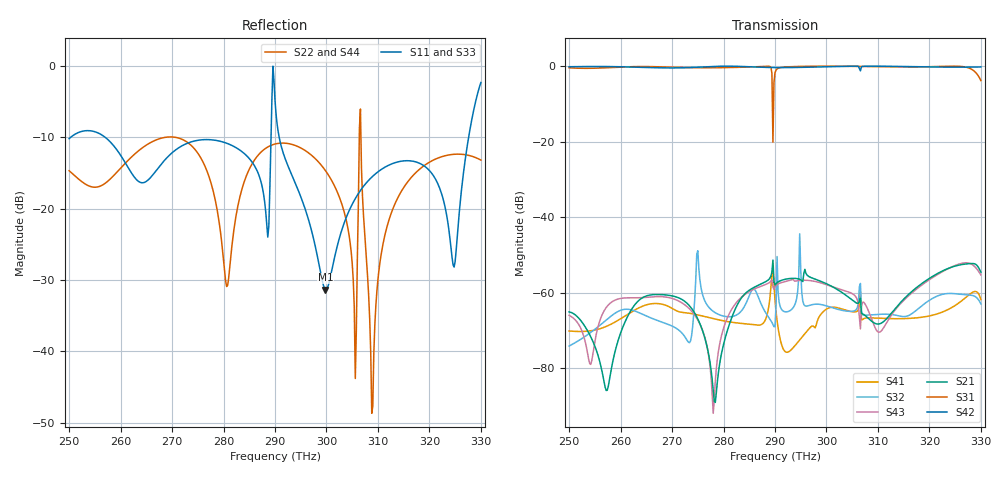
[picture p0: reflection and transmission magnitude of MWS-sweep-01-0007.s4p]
! TOUCHSTONE file generated by CST MICROWAVE STUDIO
! Date and time: Sun Sep 21 00:13:14 2025
! Project name: biblioteca3.cst
! Parameters = {t_sub=1000; t_air=1200; k=0; n=0; wavelength_nm=0; H=600; Lx=200; Ly=260; P=520}
! Header version: 2018
! Port assignment regex: !\s*Touchstone port\s*([0-9]+)\s*=\s*(CST MWS port|CST DS port)\s*([0-9]+|Zmin|Zmax)\s*\(\"(.*)\"\)(\s*mode\s*([0-9]+))?.*
! Touchstone port assignment:
! Touchstone port 1 = CST MWS port Zmin ("") mode 1
! Touchstone port 2 = CST MWS port Zmin ("") mode 2
! Touchstone port 3 = CST MWS port Zmax ("") mode 1
! Touchstone port 4 = CST MWS port Zmax ("") mode 2
! S-Parameters are not renormalized. Unphysical impedance of 50 will be written to the file.
# GHz S RI R 50
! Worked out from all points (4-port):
!   401 points, 250 THz to 330 THz, reference per port
!   strongest paths, dB at 250 THz, 270 THz, 290 THz, 310 THz, 330 THz:
!     S42: -0.2, -0.5, -0.4, 0.0, -0.2
!     S31: -0.4, -0.3, -1.7, -0.1, -3.8
!     S21: -65.0, -60.8, -57.9, -68.2, -54.5
!     S43: -65.9, -61.5, -58.4, -70.3, -55.2
!     S32: -74.1, -68.8, -68.9, -65.7, -62.9
!     S41: -70.1, -64.1, -61.9, -66.7, -61.8
!   lowest |S11| = -31.3 dB at 299.8 THz (marker M1), VSWR 1.06
!   |S11| at or under -10 dB: start of sweep to 250.3024 THz; 257 THz to 289.2 THz (32.24 THz wide, 11.8 % of centre); 290.8 THz to 327.6 THz (36.81 THz wide, 11.9 % of centre)
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250000  -0.3087 -0.0211  8.61e-05 -0.000608  -0.8931 -0.3266  0.000267 -4.69e-05
        4.72e-05 -0.000559  -0.0917 0.16  4.41e-05 -0.000155  0.4039 -0.896
        -0.8931 -0.3266  5.6e-05 -0.00019  0.2495 0.183  0.000424 0.000221
        0.000309 5.32e-05  0.4041 -0.8957  0.00042 0.000279  0.0593 -0.1746
261400  0.0026 0.1959  0.000613 -0.000119  0.6457 0.7381  -0.000245 -0.000543
        0.000493 -1.35e-07  -0.1223 0.1792  -0.000514 0.000311  -0.9758 -0.0359
        0.6465 0.7376  -0.000537 0.000284  -0.1937 -0.0286  0.000432 0.000737
        -0.000174 -0.000492  -0.9762 -0.0361  0.000553 0.00066  0.1087 0.1876
270600  -0.0137 0.256  -0.000509 -0.000802  0.4066 -0.8768  -0.000359 0.000516
        -0.000479 -0.000754  0.1497 0.2785  0.000326 0.000127  0.2099 0.9252
        0.4064 -0.8767  0.000324 0.000124  0.1865 -0.1758  0.000528 -0.000666
        -0.000379 0.000455  0.2098 0.9252  0.000424 -0.000701  0.0151 -0.3158
282400  0.2607 0.0616  0.000321 -0.000493  -0.9613 0.0657  0.000393 0.000139
        0.000295 -0.000566  -0.000374 0.088  -9.79e-05 -0.000527  0.0677 -0.9937
        -0.9612 0.0658  1.21e-05 -0.000505  -0.2499 0.0966  0.000633 -0.000338
        0.000382 0.000125  0.0682 -0.9941  0.000665 -0.000305  0.0116 -0.0872
299800  0.0261 -0.00739  -0.000421 0.00123  0.9192 0.3929  0.000268 -0.00046
        -0.000401 0.00128  0.094 -0.1591  0.000694 -0.00013  0.3766 0.9079
        0.9191 0.3927  0.000653 -0.000189  -0.0127 -0.024  -0.00121 0.000266
        0.000284 -0.000526  0.3766 0.908  -0.00125 0.000333  0.179 0.0459
315800  0.173 -0.1306  -0.000899 -0.000261  -0.4051 -0.8881  -0.000339 0.000143
        -0.000887 -0.000291  0.1541 0.0103  -0.000446 -0.000366  0.1246 -0.9802
        -0.405 -0.888  -0.000371 -0.00033  0.212 -0.045  -0.000693 0.000406
        -0.000455 6.19e-05  0.124 -0.98  -0.000795 0.000414  0.1518 0.0286
330000  0.6996 -0.3085  0.00171 0.000922  0.2375 0.5992  0.000518 -5.74e-05
        0.00168 0.000861  0.0367 -0.2157  0.00049 -0.000307  -0.8758 0.4307
        0.2375 0.5991  0.000678 -0.000226  0.7209 -0.2547  0.00198 0.00098
        0.000458 -0.000674  -0.8757 0.4309  0.00172 0.000184  -0.1933 -0.1026
